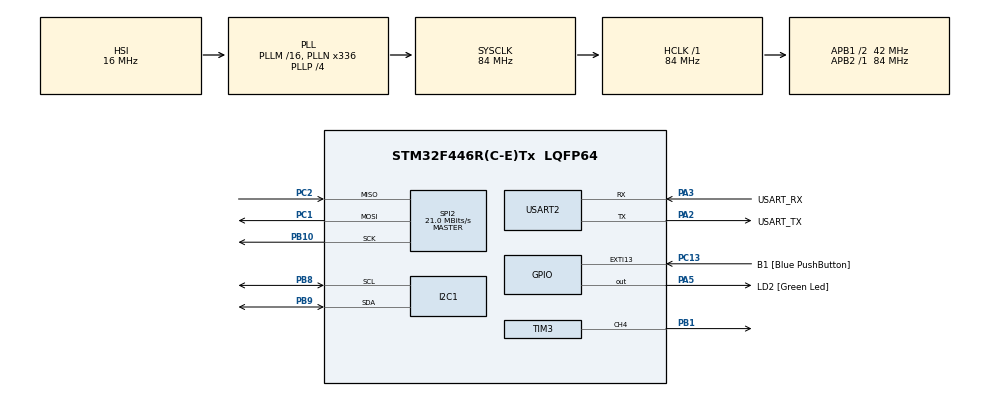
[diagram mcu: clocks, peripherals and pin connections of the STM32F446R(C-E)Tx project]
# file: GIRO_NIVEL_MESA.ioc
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I2C1.I2C_Mode=I2C_Fast
Mcu.Family=STM32F4
Mcu.Name=STM32F446R(C-E)Tx
Mcu.Package=LQFP64
NVIC.PriorityGroup=NVIC_PRIORITYGROUP_0
PA13.GPIO_Label=TMS
PA13.Mode=Serial_Wire
PA13.Signal=SYS_JTMS-SWDIO
PA14.GPIO_Label=TCK
PA14.Mode=Serial_Wire
PA14.Signal=SYS_JTCK-SWCLK
PA2.GPIO_Label=USART_TX
PA2.Mode=Asynchronous
PA2.Signal=USART2_TX
PA3.GPIO_Label=USART_RX
PA3.Mode=Asynchronous
PA3.Signal=USART2_RX
PA5.GPIO_Label=LD2 [Green Led]
PA5.Signal=GPIO_Output
PB1.Signal=S_TIM3_CH4
PB10.Mode=Full_Duplex_Master
PB10.Signal=SPI2_SCK
PB3.GPIO_Label=SWO
PB3.Signal=SYS_JTDO-SWO
PB8.Mode=I2C
PB8.Signal=I2C1_SCL
PB9.Mode=I2C
PB9.Signal=I2C1_SDA
PC1.Mode=Full_Duplex_Master
PC1.Signal=SPI2_MOSI
PC13.GPIO_Label=B1 [Blue PushButton]
PC13.GPIO_ModeDefaultEXTI=GPIO_MODE_IT_FALLING
PC13.Signal=GPXTI13
PC14-OSC32_IN.Mode=LSE-External-Oscillator
PC14-OSC32_IN.Signal=RCC_OSC32_IN
PC15-OSC32_OUT.Mode=LSE-External-Oscillator
PC15-OSC32_OUT.Signal=RCC_OSC32_OUT
PC2.Mode=Full_Duplex_Master
PC2.Signal=SPI2_MISO
PH0-OSC_IN.Mode=HSE-External-Oscillator
PH0-OSC_IN.Signal=RCC_OSC_IN
PH1-OSC_OUT.Mode=HSE-External-Oscillator
PH1-OSC_OUT.Signal=RCC_OSC_OUT
ProjectManager.HeapSize=0x200
ProjectManager.StackSize=0x400
ProjectManager.TargetToolchain=STM32CubeIDE
RCC.48MHZClocksFreq_Value=84000000
RCC.AHBFreq_Value=84000000
RCC.APB1CLKDivider=RCC_HCLK_DIV2
RCC.APB1Freq_Value=42000000
RCC.APB1TimFreq_Value=84000000
RCC.APB2Freq_Value=84000000
RCC.APB2TimFreq_Value=84000000
RCC.CortexFreq_Value=84000000
RCC.FLatency-AdvancedSettings=FLASH_LATENCY_2
RCC.HCLKFreq_Value=84000000
RCC.HSE_VALUE=8000000
RCC.HSI_VALUE=16000000
RCC.PLLN=336
RCC.PLLP=RCC_PLLP_DIV4
RCC.SYSCLKFreq_VALUE=84000000
RCC.SYSCLKSource=RCC_SYSCLKSOURCE_PLLCLK
RCC.USBFreq_Value=168000000
RCC.VCOOutputFreq_Value=336000000
SH.S_TIM3_CH4.0=TIM3_CH4,PWM Generation4 CH4
SPI2.CalculateBaudRate=21.0 MBits/s
SPI2.Direction=SPI_DIRECTION_2LINES
SPI2.Mode=SPI_MODE_MASTER
SPI2.VirtualType=VM_MASTER
TIM1.AutoReloadPreload=TIM_AUTORELOAD_PRELOAD_ENABLE
TIM1.Period=65535-1
TIM1.Prescaler=84-1
TIM3.AutoReloadPreload=TIM_AUTORELOAD_PRELOAD_DISABLE
TIM3.Channel-PWM\ Generation4\ CH4=TIM_CHANNEL_4
TIM3.OCMode_PWM-PWM\ Generation4\ CH4=TIM_OCMODE_PWM1
TIM3.Period=20000-1
TIM3.Prescaler=84-1
USART2.VirtualMode=VM_ASYNC
VP_TIM1_VS_ClockSourceINT.Mode=Internal
VP_TIM3_VS_ClockSourceINT.Mode=Internal
board=NUCLEO-F446RE

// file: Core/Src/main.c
/* USER CODE BEGIN Header */
/**
  ******************************************************************************
  * @file           : main.c
  * @brief          : Main program body
  ******************************************************************************
  * @attention
  *
  * <h2><center>&copy; Copyright (c) 2021 STMicroelectronics.
  * All rights reserved.</center></h2>
  *
  * This software component is licensed by ST under BSD 3-Clause license,
  * the "License"; You may not use this file except in compliance with the
  * License. You may obtain a copy of the License at:
  *                        opensource.org/licenses/BSD-3-Clause
  *
  ******************************************************************************
  */
/* USER CODE END Header */
#include "main.h"

/* USER CODE BEGIN Includes */
#include <stdio.h>
#include <string.h>
#include "fonts.h"
#include "tft.h"
#include "user_setting.h"
#include "functions.h"
#include "MPU6050_light_STM32.h"

/* USER CODE END Includes */

I2C_HandleTypeDef hi2c1;

SPI_HandleTypeDef hspi2;

TIM_HandleTypeDef htim1;
TIM_HandleTypeDef htim3;

UART_HandleTypeDef huart2;

/* USER CODE BEGIN PV */

float Zero;
float AngAtu;
float Offset = 1;

/* USER CODE END PV */

void SystemClock_Config(void);
static void MX_GPIO_Init(void);
static void MX_USART2_UART_Init(void);
static void MX_TIM1_Init(void);
static void MX_I2C1_Init(void);
static void MX_SPI2_Init(void);
static void MX_TIM3_Init(void);

/* USER CODE BEGIN 0 */

#ifdef __GNUC__
/* With GCC/RAISONANCE, small printf (option LD Linker->Libraries->Small printf
set to 'Yes') calls __io_putchar() */
#define PUTCHAR_PROTOTYPE int __io_putchar(int ch)
#else
#define PUTCHAR_PROTOTYPE int fputc(int ch, FILE *f)
#endif /* __GNUC__ */

/* USER CODE END 0 */

int main(void)
{
  /* USER CODE BEGIN 1 */
	uint32_t timer;

  /* USER CODE END 1 */

  /* MCU Configuration--------------------------------------------------------*/

  /* Reset of all peripherals, Initializes the Flash interface and the Systick. */
  HAL_Init();

  /* Configure the system clock */
  SystemClock_Config();

  /* Initialize all configured peripherals */
   MX_GPIO_Init();
   MX_USART2_UART_Init();
   MX_TIM1_Init();
   MX_I2C1_Init();
   MX_SPI2_Init();
   MX_TIM3_Init();
  /* USER CODE BEGIN 2 */

   tft_gpio_init(); 				// Inicializa os GPIOs conectados ao LCD;
   HAL_TIM_Base_Start(&htim1); 	// Inicializa o Timer1;
   uint16_t ID = tft_readID(); 	// Lê o ID do LCD, que é "37697";
   tft_init(ID);					// Inicializa o LCD de acordo com o ID;
   setRotation(0);				// Coloca e rotação como RETRATO;
   HAL_Delay(100);				// Delay para evitar aquele erro de não preencher a tela corretamente;
   fillScreen(BLACK);			// Nome já diz tudo;

   //Inicialização do MPU6050
    MPU6050_init(&hi2c1);

    printnewtstr(50, YELLOW, &mono9x7, 1, (uint8_t *)"Nao mexa na placa");
    printf("Calculating gyro offset, do not move MPU6050\r\n");
    HAL_Delay(1000);
    MPU6050_calcGyroOffsets();
    printnewtstr(50, BLACK, &mono9x7, 1, (uint8_t *)"Nao mexa na placa");
    printf("Done!\r\n");
    printnewtstr(150, GREEN, &mono9x7, 2, (uint8_t *)"Pronto!" );

    //Inicia o PWM do servo
    HAL_TIM_PWM_Start(&htim3, TIM_CHANNEL_4);
    htim3.Instance->CCR4 = 1500;
    uint16_t Servo = htim3.Instance->CCR4;

    // Calibra o Zero: O zero é o angulo inicial da mesa
    MPU6050_update();
    timer = HAL_GetTick();
    while ((HAL_GetTick() - timer) < 5000)
    	AngAtu = MPU6050_getAngleY();

    Zero = AngAtu;

  /* USER CODE END 2 */

  /* Infinite loop */
  /* USER CODE BEGIN WHILE */
  while (1)
	  {
	  //Servo na posição inicial
	  htim3.Instance->CCR4 = 1500;
	  Servo = htim3.Instance->CCR4;

	  while((Servo >= 1400) && (Servo <= 2600))
	  {

	  //Lê ângulo por 5 segundos antes de tomar a decisão
	  timer = HAL_GetTick();
	  while((HAL_GetTick() - timer) < 500)
		  {
		  	  MPU6050_update();
		  	  AngAtu = MPU6050_getAngleY();
		  }

		  if(AngAtu > (Zero + Offset ))
		  			  Servo += 50;
  		  else if (AngAtu < (Zero - Offset ))
		  		  	  Servo -= 50;
		  htim3.Instance->CCR4 = Servo;

	  }

	  	/*
	  	  if (AngAtu > (AngAnt + Offset ))
	  {
		  Servo += 10;
		  AngAnt = AngAtu;
		  HAL_Delay(20);
	  }
	  	  else if (AngAtu < (AngAnt - Offset ))
	  {
		  Servo -= 10;
		  AngAnt = AngAtu;
		  HAL_Delay(20);
	  }
*/

    /* USER CODE END WHILE */

  }
}

void SystemClock_Config(void)
{
  RCC_OscInitTypeDef RCC_OscInitStruct = {0};
  RCC_ClkInitTypeDef RCC_ClkInitStruct = {0};

  /** Configure the main internal regulator output voltage
  */
  __HAL_RCC_PWR_CLK_ENABLE();
  __HAL_PWR_VOLTAGESCALING_CONFIG(PWR_REGULATOR_VOLTAGE_SCALE3);
  /** Initializes the RCC Oscillators according to the specified parameters
  * in the RCC_OscInitTypeDef structure.
  */
  RCC_OscInitStruct.OscillatorType = RCC_OSCILLATORTYPE_HSI;
  RCC_OscInitStruct.HSIState = RCC_HSI_ON;
  RCC_OscInitStruct.HSICalibrationValue = RCC_HSICALIBRATION_DEFAULT;
  RCC_OscInitStruct.PLL.PLLState = RCC_PLL_ON;
  RCC_OscInitStruct.PLL.PLLSource = RCC_PLLSOURCE_HSI;
  RCC_OscInitStruct.PLL.PLLM = 16;
  RCC_OscInitStruct.PLL.PLLN = 336;
  RCC_OscInitStruct.PLL.PLLP = RCC_PLLP_DIV4;
  RCC_OscInitStruct.PLL.PLLQ = 2;
  RCC_OscInitStruct.PLL.PLLR = 2;
  if (HAL_RCC_OscConfig(&RCC_OscInitStruct) != HAL_OK)
  {
    Error_Handler();
  }
  /** Initializes the CPU, AHB and APB buses clocks
  */
  RCC_ClkInitStruct.ClockType = RCC_CLOCKTYPE_HCLK|RCC_CLOCKTYPE_SYSCLK
                              |RCC_CLOCKTYPE_PCLK1|RCC_CLOCKTYPE_PCLK2;
  RCC_ClkInitStruct.SYSCLKSource = RCC_SYSCLKSOURCE_PLLCLK;
  RCC_ClkInitStruct.AHBCLKDivider = RCC_SYSCLK_DIV1;
  RCC_ClkInitStruct.APB1CLKDivider = RCC_HCLK_DIV2;
  RCC_ClkInitStruct.APB2CLKDivider = RCC_HCLK_DIV1;

  if (HAL_RCC_ClockConfig(&RCC_ClkInitStruct, FLASH_LATENCY_2) != HAL_OK)
  {
    Error_Handler();
  }
}

static void MX_I2C1_Init(void)
{

  hi2c1.Instance = I2C1;
  hi2c1.Init.ClockSpeed = 400000;
  hi2c1.Init.DutyCycle = I2C_DUTYCYCLE_2;
  hi2c1.Init.OwnAddress1 = 0;
  hi2c1.Init.AddressingMode = I2C_ADDRESSINGMODE_7BIT;
  hi2c1.Init.DualAddressMode = I2C_DUALADDRESS_DISABLE;
  hi2c1.Init.OwnAddress2 = 0;
  hi2c1.Init.GeneralCallMode = I2C_GENERALCALL_DISABLE;
  hi2c1.Init.NoStretchMode = I2C_NOSTRETCH_DISABLE;
  if (HAL_I2C_Init(&hi2c1) != HAL_OK)
  {
    Error_Handler();
  }

}

static void MX_SPI2_Init(void)
{

  /* SPI2 parameter configuration*/
  hspi2.Instance = SPI2;
  hspi2.Init.Mode = SPI_MODE_MASTER;
  hspi2.Init.Direction = SPI_DIRECTION_2LINES;
  hspi2.Init.DataSize = SPI_DATASIZE_8BIT;
  hspi2.Init.CLKPolarity = SPI_POLARITY_LOW;
  hspi2.Init.CLKPhase = SPI_PHASE_1EDGE;
  hspi2.Init.NSS = SPI_NSS_SOFT;
  hspi2.Init.BaudRatePrescaler = SPI_BAUDRATEPRESCALER_2;
  hspi2.Init.FirstBit = SPI_FIRSTBIT_MSB;
  hspi2.Init.TIMode = SPI_TIMODE_DISABLE;
  hspi2.Init.CRCCalculation = SPI_CRCCALCULATION_DISABLE;
  hspi2.Init.CRCPolynomial = 10;
  if (HAL_SPI_Init(&hspi2) != HAL_OK)
  {
    Error_Handler();
  }

}

static void MX_TIM1_Init(void)
{

  TIM_ClockConfigTypeDef sClockSourceConfig = {0};
  TIM_MasterConfigTypeDef sMasterConfig = {0};

  htim1.Instance = TIM1;
  htim1.Init.Prescaler = 84-1;
  htim1.Init.CounterMode = TIM_COUNTERMODE_UP;
  htim1.Init.Period = 65535-1;
  htim1.Init.ClockDivision = TIM_CLOCKDIVISION_DIV1;
  htim1.Init.RepetitionCounter = 0;
  htim1.Init.AutoReloadPreload = TIM_AUTORELOAD_PRELOAD_ENABLE;
  if (HAL_TIM_Base_Init(&htim1) != HAL_OK)
  {
    Error_Handler();
  }
  sClockSourceConfig.ClockSource = TIM_CLOCKSOURCE_INTERNAL;
  if (HAL_TIM_ConfigClockSource(&htim1, &sClockSourceConfig) != HAL_OK)
  {
    Error_Handler();
  }
  sMasterConfig.MasterOutputTrigger = TIM_TRGO_RESET;
  sMasterConfig.MasterSlaveMode = TIM_MASTERSLAVEMODE_DISABLE;
  if (HAL_TIMEx_MasterConfigSynchronization(&htim1, &sMasterConfig) != HAL_OK)
  {
    Error_Handler();
  }

}

static void MX_TIM3_Init(void)
{

  TIM_ClockConfigTypeDef sClockSourceConfig = {0};
  TIM_MasterConfigTypeDef sMasterConfig = {0};
  TIM_OC_InitTypeDef sConfigOC = {0};

  htim3.Instance = TIM3;
  htim3.Init.Prescaler = 84-1;
  htim3.Init.CounterMode = TIM_COUNTERMODE_UP;
  htim3.Init.Period = 20000-1;
  htim3.Init.ClockDivision = TIM_CLOCKDIVISION_DIV1;
  htim3.Init.AutoReloadPreload = TIM_AUTORELOAD_PRELOAD_DISABLE;
  if (HAL_TIM_Base_Init(&htim3) != HAL_OK)
  {
    Error_Handler();
  }
  sClockSourceConfig.ClockSource = TIM_CLOCKSOURCE_INTERNAL;
  if (HAL_TIM_ConfigClockSource(&htim3, &sClockSourceConfig) != HAL_OK)
  {
    Error_Handler();
  }
  if (HAL_TIM_PWM_Init(&htim3) != HAL_OK)
  {
    Error_Handler();
  }
  sMasterConfig.MasterOutputTrigger = TIM_TRGO_RESET;
  sMasterConfig.MasterSlaveMode = TIM_MASTERSLAVEMODE_DISABLE;
  if (HAL_TIMEx_MasterConfigSynchronization(&htim3, &sMasterConfig) != HAL_OK)
  {
    Error_Handler();
  }
  sConfigOC.OCMode = TIM_OCMODE_PWM1;
  sConfigOC.Pulse = 0;
  sConfigOC.OCPolarity = TIM_OCPOLARITY_HIGH;
  sConfigOC.OCFastMode = TIM_OCFAST_DISABLE;
  if (HAL_TIM_PWM_ConfigChannel(&htim3, &sConfigOC, TIM_CHANNEL_4) != HAL_OK)
  {
    Error_Handler();
  }
  HAL_TIM_MspPostInit(&htim3);

}

static void MX_USART2_UART_Init(void)
{

  huart2.Instance = USART2;
  huart2.Init.BaudRate = 115200;
  huart2.Init.WordLength = UART_WORDLENGTH_8B;
  huart2.Init.StopBits = UART_STOPBITS_1;
  huart2.Init.Parity = UART_PARITY_NONE;
  huart2.Init.Mode = UART_MODE_TX_RX;
  huart2.Init.HwFlowCtl = UART_HWCONTROL_NONE;
  huart2.Init.OverSampling = UART_OVERSAMPLING_16;
  if (HAL_UART_Init(&huart2) != HAL_OK)
  {
    Error_Handler();
  }

}

static void MX_GPIO_Init(void)
{
  GPIO_InitTypeDef GPIO_InitStruct = {0};

  /* GPIO Ports Clock Enable */
  __HAL_RCC_GPIOC_CLK_ENABLE();
  __HAL_RCC_GPIOH_CLK_ENABLE();
  __HAL_RCC_GPIOA_CLK_ENABLE();
  __HAL_RCC_GPIOB_CLK_ENABLE();

  /*Configure GPIO pin Output Level */
  HAL_GPIO_WritePin(LD2_GPIO_Port, LD2_Pin, GPIO_PIN_RESET);

  /*Configure GPIO pin : B1_Pin */
  GPIO_InitStruct.Pin = B1_Pin;
  GPIO_InitStruct.Mode = GPIO_MODE_IT_FALLING;
  GPIO_InitStruct.Pull = GPIO_NOPULL;
  HAL_GPIO_Init(B1_GPIO_Port, &GPIO_InitStruct);

  /*Configure GPIO pin : LD2_Pin */
  GPIO_InitStruct.Pin = LD2_Pin;
  GPIO_InitStruct.Mode = GPIO_MODE_OUTPUT_PP;
  GPIO_InitStruct.Pull = GPIO_NOPULL;
  GPIO_InitStruct.Speed = GPIO_SPEED_FREQ_LOW;
  HAL_GPIO_Init(LD2_GPIO_Port, &GPIO_InitStruct);

}

/* USER CODE BEGIN 4 */
/**
* @brief Retargets the C library printf function to the USART.
* @param None
* @retval None
*/
PUTCHAR_PROTOTYPE
{
/* Place your implementation of fputc here */
/* e.g. write a character to the USART2 and Loop until the end of transmission */
HAL_UART_Transmit(&huart2, (uint8_t *)&ch, 1, 0xFFFF);
return ch;
}

/* USER CODE END 4 */

void Error_Handler(void)
{
  __disable_irq();
  while (1)
  {
  }
}

/************************ (C) COPYRIGHT STMicroelectronics *****END OF FILE****/
